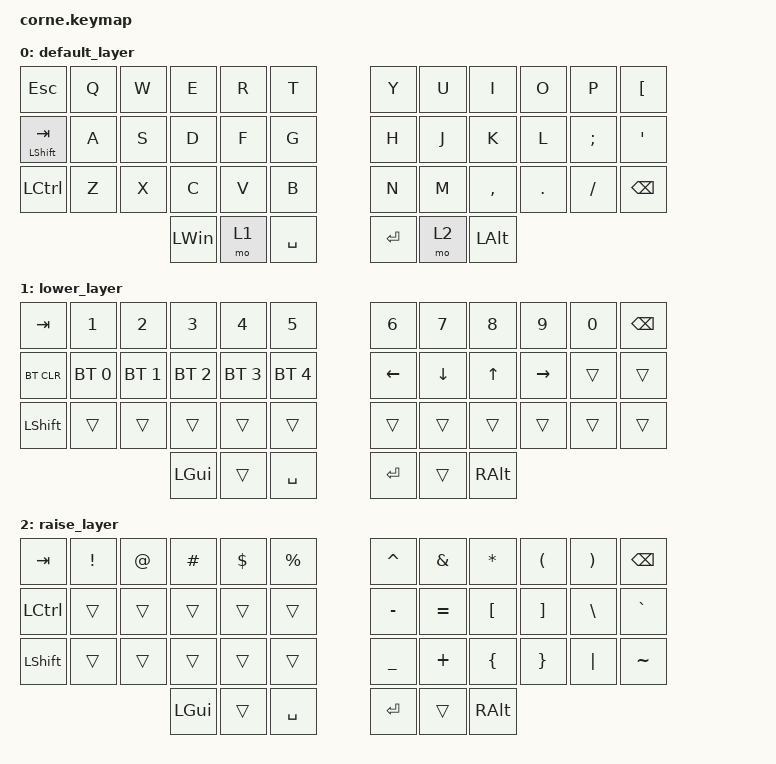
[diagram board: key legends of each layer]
/*
 * Copyright (c) 2020 The ZMK Contributors
 *
 * SPDX-License-Identifier: MIT
 */

#include <behaviors.dtsi>
#include <dt-bindings/zmk/keys.h>
#include <dt-bindings/zmk/bt.h>

/ {
        keymap {
                compatible = "zmk,keymap";

                default_layer {
// -----------------------------------------------------------------------------------------
// |  ESC |  Q  |  W  |  E  |  R  |  T  |   |  Y  |  U   |  I  |  O  |  P  | [ |
// | LSHFT TAB |  A  |  S  |  D  |  F  |  G  |   |  H  |  J   |  K  |  L  |  ;  |  '   |
// | LCTRL |  Z  |  X  |  C  |  V  |  B  |   |  N  |  M   |  ,  |  .  |  /  | BSPC  |
//                    | LWIN | LWR | SPC |   | ENT | RSE  | LALT |
                        bindings = <
   &kp ESC   &kp Q &kp W &kp E &kp R &kp T   &kp Y &kp U  &kp I     &kp O   &kp P    &kp LBKT
   &mt  LSHFT TAB &kp A &kp S &kp D &kp F &kp G   &kp H &kp J  &kp K     &kp L   &kp SEMI &kp SQT
   &kp LCTRL  &kp Z &kp X &kp C &kp V &kp B   &kp N &kp M  &kp COMMA &kp DOT &kp FSLH &kp BSPC
                  &kp LEFT_WIN &mo 1 &kp SPACE   &kp RET &mo 2 &kp LALT
                        >;
                };
                lower_layer {
// -----------------------------------------------------------------------------------------
// |  TAB |  1  |  2  |  3  |  4  |  5  |   |  6  |  7  |  8  |  9  |  0  | BSPC |
// | BTCLR| BT1 | BT2 | BT3 | BT4 | BT5 |   | LFT | DWN |  UP | RGT |     |      |
// | SHFT |     |     |     |     |     |   |     |     |     |     |     |      |
//                    | GUI |     | SPC |   | ENT |     | ALT |
                        bindings = <
   &kp TAB    &kp N1       &kp N2       &kp N3       &kp N4       &kp N5         &kp N6   &kp N7   &kp N8 &kp N9    &kp N0 &kp BSPC
   &bt BT_CLR &bt BT_SEL 0 &bt BT_SEL 1 &bt BT_SEL 2 &bt BT_SEL 3 &bt BT_SEL 4   &kp LEFT &kp DOWN &kp UP &kp RIGHT &trans &trans
   &kp LSHFT  &trans       &trans       &trans       &trans       &trans         &trans   &trans   &trans &trans    &trans &trans
                                    &kp LGUI     &trans       &kp SPACE      &kp RET  &trans   &kp RALT
                        >;
                };

                raise_layer {
// -----------------------------------------------------------------------------------------
// |  TAB |  !  |  @  |  #  |  $  |  %  |   |  ^  |  &  |  *  |  (  |  )  | BSPC |
// | CTRL |     |     |     |     |     |   |  -  |  =  |  [  |  ]  |  \  |  `   |
// | SHFT |     |     |     |     |     |   |  _  |  +  |  {  |  }  | "|" |  ~   |
//                    | GUI |     | SPC |   | ENT |     | ALT |
                        bindings = <
   &kp  TAB  &kp EXCL &kp AT &kp HASH &kp DLLR &kp PRCNT   &kp CARET &kp AMPS  &kp ASTRK &kp LPAR &kp RPAR &kp BSPC
   &kp LCTRL &trans   &trans &trans   &trans   &trans      &kp MINUS &kp EQUAL &kp LBKT  &kp RBKT &kp BSLH &kp GRAVE
   &kp LSHFT &trans   &trans &trans   &trans   &trans      &kp UNDER &kp PLUS  &kp LBRC  &kp RBRC &kp PIPE &kp TILDE
                             &kp LGUI &trans   &kp SPACE   &kp RET   &trans    &kp RALT
                        >;
                };
        };
};
